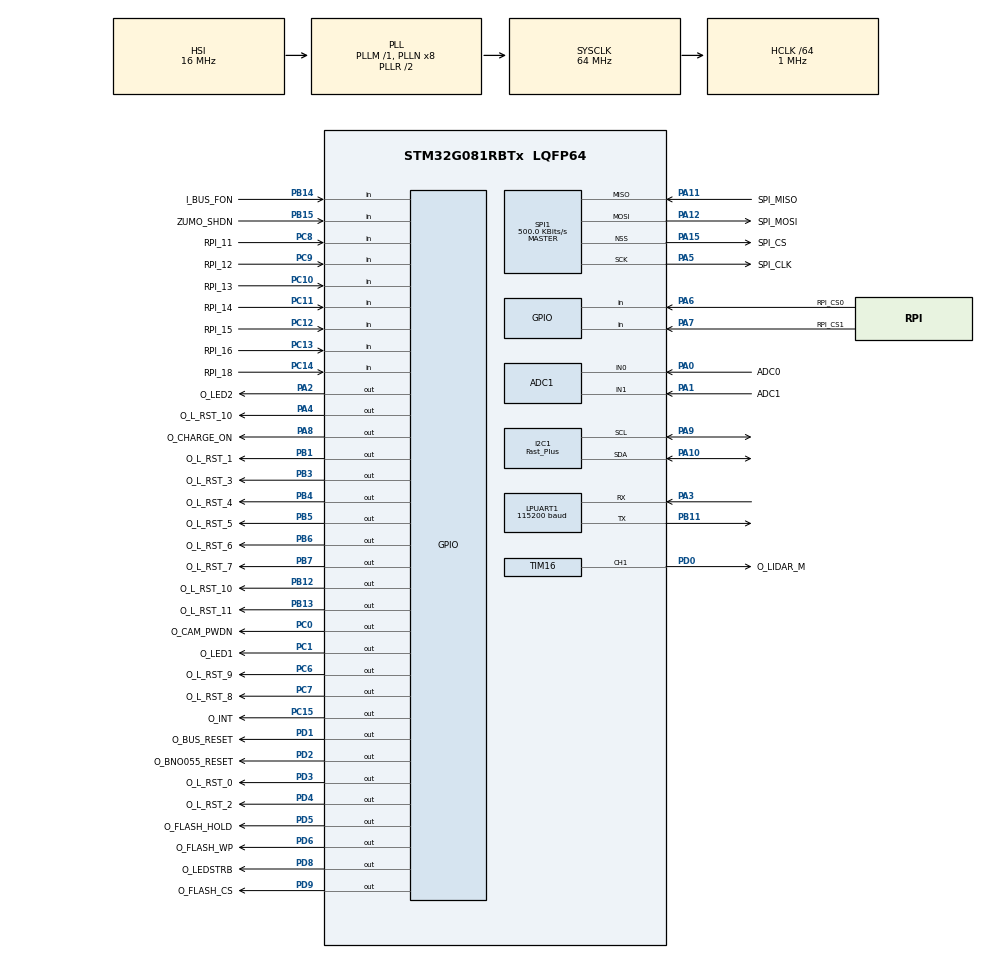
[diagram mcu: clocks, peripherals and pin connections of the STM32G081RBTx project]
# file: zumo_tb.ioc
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Dma.LPUART1_RX.2.MemDataAlignment=DMA_MDATAALIGN_BYTE
PC15-OSC32_OUT\ (PC15).GPIO_Speed=GPIO_SPEED_FREQ_LOW
ADC1.LowPowerAutoWait=DISABLE
LPUART1.OverrunDisableParam=UART_ADVFEATURE_OVERRUN_DISABLE
I2C1.I2C_Speed_Mode=I2C_Fast_Plus
SPI1.VirtualType=VM_MASTER
VP_ADC1_TempSens_Input.Mode=IN-TempSens
I2C1.GeneralCallMode=I2C_GENERALCALL_DISABLE
PA12\ [PA10].GPIO_Label=SPI_MOSI
PC12.Signal=GPIO_Input
PB14.GPIO_Label=I_BUS_FON
Dma.LPUART1_RX.2.PeriphDataAlignment=DMA_PDATAALIGN_BYTE
PC6.GPIO_Label=O_L_RST_9
VP_RTC_VS_RTC_Activate.Mode=RTC_Enabled
LPUART1.WordLength=UART_WORDLENGTH_8B
PA6.GPIO_Label=RPI_CS0
PB6.GPIO_Label=O_L_RST_6
ADC1.SamplingTimeCommon2=ADC_SAMPLETIME_160CYCLES_5
ADC1.SamplingTimeCommon1=ADC_SAMPLETIME_39CYCLES_5
PB13.Signal=GPIO_Output
PD6.GPIO_Label=O_FLASH_WP
RCC.SYSCLKSource=RCC_SYSCLKSOURCE_PLLCLK
NVIC.I2C1_IRQn=true\:0\:0\:false\:false\:true\:true\:true
Dma.TIM16_CH1.1.SignalID=NONE
RTC.SynchPrediv=249
ADC1.Channel-5\#ChannelRegularConversion=ADC_CHANNEL_VREFINT
Dma.LPUART1_RX.2.Priority=DMA_PRIORITY_LOW
RCC.ADCCLockSelection=RCC_ADCCLKSOURCE_HSI
SPI1.Direction=SPI_DIRECTION_2LINES
PA12\ [PA10].Signal=SPI1_MOSI
PD4.Signal=GPIO_Output
PB6.Signal=GPIO_Output
Dma.ADC1.0.Direction=DMA_PERIPH_TO_MEMORY
ADC1.Channel-2\#ChannelRegularConversion=ADC_CHANNEL_TEMPSENSOR
PC7.Signal=GPIO_Output
SPI1.CalculateBaudRate=500.0 KBits/s
PC3.Signal=SPI2_MOSI
PD0.Signal=S_TIM16_CH1
NVIC.TIM6_DAC_LPTIM1_IRQn=true\:0\:0\:false\:false\:true\:true\:true
PD8.Signal=GPIO_Output
Dma.TIM16_CH1.1.Priority=DMA_PRIORITY_LOW
Dma.ADC1.0.MemDataAlignment=DMA_MDATAALIGN_HALFWORD
VREF+.Signal=VREFBUF_OUT
PB2.Signal=USART3_TX
ADC1.ScanConvMode=ADC_SCAN_DISABLE
PD1.GPIO_Label=O_BUS_RESET
PB12.GPIO_Label=O_L_RST_10
Dma.LPUART1_RX.2.Mode=DMA_NORMAL
RCC.TIM1CLockSelectionVirtual=RCC_TIM1CLKSOURCE_PLL
LPTIM1.ClockPrescaler=LPTIM_PRESCALER_DIV32
TIM16.OCPolarity_1=TIM_OCPOLARITY_HIGH
VP_ADC1_Vref_Input.Mode=IN-Vrefint
I2C1.NoStretchMode=I2C_NOSTRETCH_DISABLE
LPUART1.RxPinLevelInvertParam=UART_ADVFEATURE_RXINV_DISABLE
PC4.GPIO_Label=U1_ESP_RXD
PA5.GPIO_PuPd=GPIO_NOPULL
PB1.GPIO_Label=O_L_RST_1
Dma.ADC1.0.PeriphInc=DMA_PINC_DISABLE
SPI1.DataSize=SPI_DATASIZE_8BIT
PA0.Mode=IN0
PA8.Signal=GPIO_Output
PA8.GPIO_ModeDefaultOutputPP=GPIO_MODE_OUTPUT_PP
SPI1.VirtualNSS=VM_NSSHARD
Dma.TIM16_CH1.1.MemDataAlignment=DMA_MDATAALIGN_HALFWORD
VP_TIM1_VS_ClockSourceINT.Mode=Internal
ADC1.SamplingTime-0\#ChannelRegularConversion=ADC_SAMPLINGTIME_COMMON_1
TIM16.Pulse=2300
PA0.Signal=ADC1_IN0
Mcu.Package=LQFP64
PB9.Signal=SPI2_NSS
PB1.Signal=GPIO_Output
ADC1.OversamplingMode=DISABLE
PA10.Signal=I2C1_SDA
VP_RTC_VS_RTC_Calendar.Mode=RTC_Calendar
Dma.LPUART1_RX.2.Instance=DMA1_Channel3
VP_SYS_V_PVD_IN.Mode=Mode_PVD_Int
Dma.TIM16_CH1.1.EventEnable=DISABLE
LPUART1.Mode=UART_MODE_RX
LPUART1.TXFIFOThreshold=UART_TXFIFO_THRESHOLD_1_2
TIM1.Period=65535
TIM16.Prescaler=160
I2C1.CustomTiming=Disabled
PA4.GPIO_Label=O_L_RST_10
ADC1.EOCSelection=ADC_EOC_SEQ_CONV
Dma.TIM16_CH1.1.Instance=DMA1_Channel2
Dma.ADC1.0.EventEnable=DISABLE
PA5.Mode=Full_Duplex_Master
LPUART1.FifoMode=UART_FIFOMODE_ENABLE
VREF+.Mode=InternalMode
Dma.ADC1.0.Instance=DMA1_Channel1
PC15-OSC32_OUT\ (PC15).GPIO_Label=O_INT
ADC1.Rank-0\#ChannelRegularConversion=1
PD9.GPIO_Label=O_FLASH_CS
PA12\ [PA10].GPIO_Speed=GPIO_SPEED_FREQ_VERY_HIGH
Dma.LPUART1_RX.2.SyncPolarity=HAL_DMAMUX_SYNC_NO_EVENT
Dma.ADC1.0.SyncRequestNumber=1
PC13.Signal=GPIO_Input
PD3.Signal=GPIO_Output
PC6.Signal=GPIO_Output
PC2.Signal=SPI2_MISO
PD1.Signal=GPIO_Output
SH.S_TIM16_CH1.0=TIM16_CH1,PWM Generation1 CH1
VP_TIM16_VS_ClockSourceINT.Mode=Enable_Timer
NVIC.TIM16_IRQn=true\:0\:0\:false\:false\:true\:true\:true
Dma.TIM16_CH1.1.SyncSignalID=NONE
PC0.Signal=GPIO_Output
Dma.TIM16_CH1.1.MemInc=DMA_MINC_ENABLE
PA9.GPIO_FMPA9=__NULL
PC14-OSC32_IN\ (PC14).GPIO_Label=RPI_18
Dma.TIM16_CH1.1.Mode=DMA_NORMAL
PA3.Mode=Asynchronous
PA8.GPIO_Label=O_CHARGE_ON
PB11.Mode=Asynchronous
Dma.ADC1.0.SignalID=NONE
PC15-OSC32_OUT\ (PC15).GPIO_ModeDefaultOutputPP=GPIO_MODE_OUTPUT_OD
Dma.ADC1.0.Priority=DMA_PRIORITY_HIGH
PA9.Signal=I2C1_SCL
I2C1.Timing=0x00300B29
PB10.Signal=I2C2_SCL
PB14.Signal=GPIO_Input
PA5.Signal=SPI1_SCK
LPUART1.DMADisableonRxErrorParam=UART_ADVFEATURE_DMA_DISABLEONRXERROR
Dma.TIM16_CH1.1.SyncPolarity=HAL_DMAMUX_SYNC_NO_EVENT
PA1.Mode=IN1
TIM16.AutomaticOutput=TIM_AUTOMATICOUTPUT_DISABLE
PB4.GPIO_Label=O_L_RST_4
PB15.GPIO_Label=ZUMO_SHDN
SPI1.Mode=SPI_MODE_MASTER
PA1.GPIO_Label=ADC1
Dma.LPUART1_RX.2.SignalID=NONE
RCC.AHBCLKDivider=RCC_SYSCLK_DIV64
ADC1.DMAContinuousRequests=ENABLE
PA13.Mode=Serial_Wire
Dma.LPUART1_RX.2.Polarity=HAL_DMAMUX_REQ_GEN_RISING
PC7.GPIO_Label=O_L_RST_8
PA4.Signal=GPIO_Output
ADC1.SamplingTime-1\#ChannelRegularConversion=ADC_SAMPLINGTIME_COMMON_1
PB5.Signal=GPIO_Output
ADC1.master=1
Dma.TIM16_CH1.1.Polarity=HAL_DMAMUX_REQ_GEN_RISING
Dma.TIM16_CH1.1.SyncRequestNumber=1
PA5.GPIO_Label=SPI_CLK
ADC1.TriggerFrequencyMode=ADC_TRIGGER_FREQ_LOW
PC12.GPIO_Label=RPI_15
ADC1.Rank-1\#ChannelRegularConversion=2
Dma.ADC1.0.RequestNumber=1
RTC.HourFormat=RTC_HOURFORMAT_24
ProjectManager.HeapSize=0x200
Dma.LPUART1_RX.2.SyncRequestNumber=1
ADC1.SamplingTime-5\#ChannelRegularConversion=ADC_SAMPLINGTIME_COMMON_1
Dma.LPUART1_RX.2.SyncSignalID=NONE
NVIC.DMA1_Channel2_3_IRQn=true\:0\:0\:false\:false\:true\:false\:true
TIM16.OCIdleState_1=TIM_OCIDLESTATE_RESET
NVIC.DMA1_Channel1_IRQn=true\:0\:0\:false\:false\:true\:false\:true
PD2.Signal=GPIO_Output
PB0.Signal=USART3_RX
IWDG.Window=0xfff
NVIC.TIM1_BRK_UP_TRG_COM_IRQn=true\:0\:0\:false\:false\:true\:true\:true
ADC1.Rank-5\#ChannelRegularConversion=4
PC1.Signal=GPIO_Output
PD2.GPIO_Label=O_BNO055_RESET
Dma.LPUART1_RX.2.Direction=DMA_PERIPH_TO_MEMORY
Mcu.Family=STM32G0
PA11\ [PA9].Mode=Full_Duplex_Master
RCC.CortexFreq_Value=125000
ADC1.Overrun=ADC_OVR_DATA_PRESERVED
ADC1.ContinuousConvMode=ENABLE
Dma.ADC1.0.Polarity=HAL_DMAMUX_REQ_GEN_RISING
PA11\ [PA9].GPIO_Label=SPI_MISO
PA12\ [PA10].Mode=Full_Duplex_Master
PC10.Signal=GPIO_Input
VP_IWDG_VS_IWDG.Mode=IWDG_Activate
TIM16.BreakPolarity=TIM_BREAKPOLARITY_LOW
PA0.GPIO_Label=ADC0
PA14-BOOT0.Mode=Serial_Wire
PD0.GPIO_Label=O_LIDAR_M
PC0.GPIO_Label=O_CAM_PWDN
PB0.GPIO_Label=U3_ZUMO_TXD
PC13.GPIO_Label=RPI_16
PB13.GPIO_Label=O_L_RST_11
PB11.Signal=LPUART1_TX
PB15.Signal=GPIO_Input
ProjectManager.StackSize=0x400
TIM16.BreakState=TIM_BREAK_DISABLE
RCC.LPUART1CLockSelection=RCC_LPUART1CLKSOURCE_HSI
PA15.GPIO_Label=SPI_CS
RTC.StoreOperation=RTC_STOREOPERATION_RESET
TIM1.Prescaler=10000
SPI1.CLKPolarity=SPI_POLARITY_LOW
Mcu.UserConstants=I2C_ADDR,0x10
RCC.HCLKFreq_Value=1000000
RCC.AHBFreq_Value=1000000
PA14-BOOT0.Signal=SYS_SWCLK
ADC1.Channel-0\#ChannelRegularConversion=ADC_CHANNEL_0
RCC.HSE_VALUE=4000000
PA15.Mode=NSS_Signal_Hard_Output
Dma.TIM16_CH1.1.Direction=DMA_PERIPH_TO_MEMORY
Dma.LPUART1_RX.2.MemInc=DMA_MINC_ENABLE
PA2.PinState=GPIO_PIN_RESET
ADC1.Rank-2\#ChannelRegularConversion=3
PC11.GPIO_Label=RPI_14
VP_SYS_VS_DBSignals.Mode=DisableDeadBatterySignals
Dma.TIM16_CH1.1.PeriphDataAlignment=DMA_PDATAALIGN_HALFWORD
RTC.AsynchPrediv=127
PB7.Signal=GPIO_Output
ADC1.LowPowerAutoPowerOff=ENABLE
Dma.LPUART1_RX.2.EventEnable=DISABLE
PB7.GPIO_Label=O_L_RST_7
ADC1.SelectedChannel=ADC_CHANNEL_0|ADC_CHANNEL_1|ADC_CHANNEL_TEMPSENSOR|ADC_CHANNEL_VREFINT|ADC_CHANNEL_VBAT
PA6.Signal=GPIO_Input
LPUART1.RXFIFOThreshold=UART_RXFIFO_THRESHOLD_1_2
PB15.GPIO_PuPd=GPIO_PULLUP
PD5.GPIO_Label=O_FLASH_HOLD
PA2.GPIO_Label=O_LED2
VP_LPTIM1_VS_LPTIM_counterModeInternalClock.Mode=Counts__internal_clock_event_00
IWDG.Reload=1000
PA15.Signal=SPI1_NSS
PA10.GPIO_Speed=GPIO_SPEED_FREQ_LOW
PB5.GPIO_Label=O_L_RST_5
Dma.Request2=LPUART1_RX
TIM16.AutoReloadPreload=TIM_AUTORELOAD_PRELOAD_ENABLE
Dma.Request1=TIM16_CH1
PC5.Signal=USART1_RX
PD3.GPIO_Label=O_L_RST_0
PD6.Signal=GPIO_Output
Dma.Request0=ADC1
SPI1.BaudRatePrescaler=SPI_BAUDRATEPRESCALER_2
Dma.LPUART1_RX.2.PeriphInc=DMA_PINC_DISABLE
PA8.PinState=GPIO_PIN_RESET
PB4.Signal=GPIO_Output
PA3.Signal=LPUART1_RX
PB3.GPIO_Label=O_L_RST_3
PA11\ [PA9].GPIO_Speed=GPIO_SPEED_FREQ_VERY_HIGH
PC10.GPIO_Label=RPI_13
PA10.Mode=I2C
PC9.GPIO_Label=RPI_12
ADC1.ChannelVREF=ADC_CHANNEL_VREFINT
PC11.Signal=GPIO_Input
RCC.I2C1CLockSelection=RCC_I2C1CLKSOURCE_SYSCLK
Dma.LPUART1_RX.2.SyncEnable=DISABLE
PC8.Signal=GPIO_Input
PC4.Signal=USART1_TX
ADC1.DiscontinuousConvMode=DISABLE
VP_ADC1_Vbat_Input.Mode=IN-Vbat
RCC.EXTERNAL_CLOCK_VALUE=48000
PD5.Signal=GPIO_Output
PD9.Signal=GPIO_Output
PC15-OSC32_OUT\ (PC15).Signal=GPIO_Output
TIM16.Channel=TIM_CHANNEL_1
ADC1.SamplingTime-2\#ChannelRegularConversion=ADC_SAMPLINGTIME_COMMON_2
I2C1.Analog_Filter=I2C_ANALOGFILTER_ENABLE
Dma.TIM16_CH1.1.SyncEnable=DISABLE
TIM1.ClockDivision=TIM_CLOCKDIVISION_DIV2
PD8.GPIO_Label=O_LEDSTRB
PC8.GPIO_Label=RPI_11
Dma.LPUART1_RX.2.RequestNumber=1
PA13.Signal=SYS_SWDIO
Dma.ADC1.0.PeriphDataAlignment=DMA_PDATAALIGN_HALFWORD
PA9.Mode=I2C
ProjectManager.TargetToolchain=STM32CubeIDE
PB10.GPIO_Label=SCL2
Dma.ADC1.0.Mode=DMA_CIRCULAR
Dma.ADC1.0.SyncSignalID=NONE
ADC1.Channel-1\#ChannelRegularConversion=ADC_CHANNEL_1
RCC.LPTIM1CLockSelection=RCC_LPTIM1CLKSOURCE_LSI
RCC.LSE_VALUE=32768
PA1.Signal=ADC1_IN1
NVIC.USART3_4_LPUART1_IRQn=true\:0\:0\:false\:false\:true\:true\:true
board=custom
RCC.VCOOutputFreq_Value=128000000
ADC1.ChannelTS=ADC_CHANNEL_TEMPSENSOR
PC15-OSC32_OUT\ (PC15).GPIO_PuPd=GPIO_PULLUP
Dma.ADC1.0.SyncPolarity=HAL_DMAMUX_SYNC_NO_EVENT
TIM16.Period=10000
PA10.GPIO_FMPA10=__NULL
TIM16.ClockDivision=TIM_CLOCKDIVISION_DIV1
PD4.GPIO_Label=O_L_RST_2
RCC.ADCFreq_Value=16000000
PC1.GPIO_Label=O_LED1
ADC1.NbrOfConversion=4
Mcu.Name=STM32G081RBTx
PA11\ [PA9].Signal=SPI1_MISO
LPUART1.BaudRate=115200
PA2.Signal=GPIO_Output
I2C1.OwnAddress=I2C_ADDR
PB3.Signal=GPIO_Output
RCC.SYSCLKFreq_VALUE=64000000
PA7.GPIO_Label=RPI_CS1
PC5.GPIO_Label=U1_ESP_TXD
PC14-OSC32_IN\ (PC14).Signal=GPIO_Input
PA15.GPIO_Speed=GPIO_SPEED_FREQ_VERY_HIGH
Dma.ADC1.0.SyncEnable=DISABLE
Dma.ADC1.0.MemInc=DMA_MINC_ENABLE
PB2.GPIO_Label=U3_ZUMO_RXD
Dma.TIM16_CH1.1.PeriphInc=DMA_PINC_DISABLE
RCC.HSI_VALUE=16000000
PA8.GPIO_PuPd=GPIO_NOPULL
PA5.GPIO_Speed=GPIO_SPEED_FREQ_VERY_HIGH
ADC1.NbrOfConversionFlag=1
IWDG.Prescaler=IWDG_PRESCALER_32
PA9.GPIO_Speed=GPIO_SPEED_FREQ_LOW
PB8.Signal=SPI2_SCK
RCC.Cortex_Div=SYSTICK_CLKSOURCE_HCLK_DIV8
PC9.Signal=GPIO_Input
ADC1.ClockPrescaler=ADC_CLOCK_ASYNC_DIV64
NVIC.ADC1_COMP_IRQn=true\:0\:0\:false\:false\:true\:true\:true
PB12.Signal=GPIO_Output
Dma.TIM16_CH1.1.RequestNumber=1
PA7.Signal=GPIO_Input

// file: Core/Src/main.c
/* USER CODE BEGIN Header */
/**
 ******************************************************************************
 * @file           : main.c
 * @brief          : Main program body
 ******************************************************************************
 * @attention
 *
 * <h2><center>&copy; Copyright (c) 2020 STMicroelectronics.
 * All rights reserved.</center></h2>
 *
 * This software component is licensed by ST under BSD 3-Clause license,
 * the "License"; You may not use this file except in compliance with the
 * License. You may obtain a copy of the License at:
 *                        opensource.org/licenses/BSD-3-Clause
 *
 ******************************************************************************
 */
/* USER CODE END Header */
#include "main.h"
#include "adc.h"
#include "dma.h"
#include "i2c.h"
#include "iwdg.h"
#include "lptim.h"
#include "usart.h"
#include "rtc.h"
#include "spi.h"
#include "tim.h"
#include "gpio.h"

/* USER CODE BEGIN Includes */

#include "config.h"
#include "stm32g0xx_hal_pwr_ex.h"
#ifdef ENABLE_LCD_UI
#include "ui.h"
#endif
#include "pm.h"

/* USER CODE END Includes */

/* USER CODE BEGIN PTD */

//#define ENABLE_SEMI_PRINTF

/* USER CODE END PTD */

void SystemClock_Config(void);
/* USER CODE BEGIN PFP */
void FastSystemClock_Config(void);
uint8_t sysfastclock = 0;
extern void initialise_monitor_handles(void);
void vUpdateRSTGPIOs();
void vUpdateRPIGPIOs();

/* USER CODE END PFP */

/* USER CODE BEGIN 0 */

/* Buffer used for reception */
uint8_t lds_previdx = 0;
uint8_t ldx_rxbuf[8];
uint8_t lds_frmidx = 0;
uint8_t lds_frm[22];
#define LDS_POINTS 360
struct
{
	uint8_t index;
	uint8_t data[4];
} lds_data[LDS_POINTS];
struct
{
	uint8_t index;
	uint8_t data[4];
} lds_data_bak[LDS_POINTS];
uint16_t lds_data_bak_cnt = 0;
struct
{
	uint8_t index;
	uint8_t data[4];
} lds_data_i2c[LDS_POINTS];
uint16_t lds_data_i2c_cnt = 0;
uint16_t lds_data_i2c_addr = 0;

/**
  * @brief  Rx Transfer completed callback
  * @param  UartHandle: UART handle
  * @note   This example shows a simple way to report end of DMA Rx transfer, and
  *         you can add your own implementation.
  * @retval None
  */
void HAL_UART_RxCpltCallback(UART_HandleTypeDef *huart) {
	/*
	22 Bytes: <start> <index> <speed_L> <speed_H> [Data 0] [Data 1] [Data 2] [Data 3] <checksum_L> <checksum_H>

	start is always 0xFA
	index is the index byte in the 90 packets, going from 0xA0 (packet 0, readings 0 to 3) to 0xF9 (packet 89, readings 356 to 359).
	speed is a two-byte information, little-endian. It represents the speed, in 64th of RPM (aka value in RPM represented in fixed point, with 6 bits used for the decimal part).
	[Data 0] to [Data 3] are the 4 readings. Each one is 4 bytes long, and organized as follows :

	`byte 0 : <distance 7:0>`
	`byte 1 : <„invalid data“ flag> <„strength warning“ flag> <distance 13:8>`
	`byte 2 : <signal strength 7:0>`
	`byte 3 : <signal strength 15:8>`
	 */

	int j;
	for(j=0;j<sizeof(ldx_rxbuf);j++)
	{
		lds_frm[lds_frmidx] = ldx_rxbuf[j];
		if( lds_frm[0] == 0xFA )
		{
			lds_frmidx++;
			lds_previdx = 0xA0-1;
		}
		if( lds_frmidx == 22 )
		{
			uint32_t chk32 = 0;
			int i;
			for(i=0; i<10; i++)
			{
			    chk32 = (chk32 << 1) + (lds_frm[2*i+0]|lds_frm[2*i+1]<<8);
			}
			chk32 = (chk32 & 0x7FFF) + (chk32 >> 15);
			chk32 &= 0x7FFF;
			if( ((chk32>>0)&0xff) == lds_frm[20] && ((chk32>>8)&0xff) == lds_frm[21] )
			{
				uint8_t index = lds_frm[1];
				double speed = (lds_frm[2] | lds_frm[3]<<8)/64.0;
				struct
				{
					uint8_t  distance;
					uint8_t  invalid;
					uint8_t  strength_warning;
					int16_t  signal;
				} data[4];
				int rpm = API_I2C1_u8Get(I2C_REG_TB_U8_LDS_SPEED) * 60;
				if( rpm != 0 )
				{
					if( speed < rpm )
					{
						if( htim16.Instance->CCR1 < 10000 )
							htim16.Instance->CCR1++;
					}
					else if( speed > rpm )
					{
						if( htim16.Instance->CCR1 > 1000 )
							htim16.Instance->CCR1--;
					}
				}
				if( lds_previdx+1 == index )
				{
					for(i=0;i<4;i++)
					{
						data[i].distance = (lds_frm[4+4*i+0] | (lds_frm[4+4*i+1]<<8))&0x3fff;
						data[i].invalid = (lds_frm[4+4*i+1]>>7)&1;
						data[i].strength_warning = (lds_frm[4+4*i+1]>>6)&1;
						data[i].signal = lds_frm[4+4*i+2] + (lds_frm[4+4*i+3]<<8);

						int p = (4*(index-0xA0) + i);
						if(p>=0 && p<LDS_POINTS )
						{
							lds_data[p].index = index;
							lds_data[p].data[0] = lds_frm[4+4*i+0];
							lds_data[p].data[1] = lds_frm[4+4*i+1];
							lds_data[p].data[2] = lds_frm[4+4*i+2];
							lds_data[p].data[3] = lds_frm[4+4*i+3];
							if( p==((LDS_POINTS)-1) )
							{
								memcpy(&lds_data_bak,&lds_data,sizeof(lds_data_bak));
								lds_data_bak_cnt++;
								if( (API_I2C1_u8Get(I2C_REG_TB_U8_INT_ENABLE)&I2C_REG_TB_U8_INT_BIT__LDS_READY) != 0 )
								{
									API_I2C1_u8Set(I2C_REG_TB_U8_INT_FLAGS,API_I2C1_u8Get(I2C_REG_TB_U8_INT_FLAGS)|I2C_REG_TB_U8_INT_BIT__LDS_READY);
								}

							}
						}
					}
				}
				else
				{
					lds_previdx = 0x00;
				}
	#ifdef ENABLE_SEMI_PRINTF
				if( index == 0xA0 )
				{
					printf("0x%02x idx=%02x speed=%3.0f pwm=%d (%d,%d,%d,%d) (%d,%d,%d,%d) (%d,%d,%d,%d) (%d,%d,%d,%d) \n",
							lds_frm[0],
							index,
							speed,htim16.Instance->CCR1,
							data[0].distance,data[0].invalid,data[0].strength_warning,data[0].signal,
							data[1].distance,data[1].invalid,data[1].strength_warning,data[1].signal,
							data[2].distance,data[2].invalid,data[2].strength_warning,data[2].signal,
							data[3].distance,data[3].invalid,data[3].strength_warning,data[3].signal);
				}
	#endif
			}
			lds_frm[0] = 0;
			lds_frmidx = 0;
			lds_previdx = 0x00;
			memset(&lds_data,0,sizeof(lds_data));
		}
	}

	if (HAL_UART_Receive_IT(&hlpuart1, (uint8_t *)ldx_rxbuf, sizeof(ldx_rxbuf)) != HAL_OK)
	{
		Error_Handler();
	}
}

/* USER CODE END 0 */

int main(void)
{
  /* USER CODE BEGIN 1 */
#ifdef ENABLE_SEMI_PRINTF
  initialise_monitor_handles();
#endif
  /* USER CODE END 1 */

  /* MCU Configuration--------------------------------------------------------*/

  /* Reset of all peripherals, Initializes the Flash interface and the Systick. */
  HAL_Init();

  /* Configure the system clock */
  SystemClock_Config();

  /* Initialize all configured peripherals */
  MX_GPIO_Init();
  MX_DMA_Init();
  MX_SPI1_Init();
  MX_TIM1_Init();
  MX_RTC_Init();
  MX_ADC1_Init();
  MX_TIM16_Init();
  MX_LPTIM1_Init();
  MX_IWDG_Init();
  MX_I2C1_Init();
  MX_LPUART1_UART_Init();
  /* USER CODE BEGIN 2 */

  __HAL_RCC_PWR_CLK_ENABLE();

#if 0
  /* Disable Prefetch Buffer */
  __HAL_FLASH_PREFETCH_BUFFER_DISABLE();

  RCC->IOPSMENR  = 0x00u;
  RCC->AHBSMENR  = 0x00u;

  RCC->APBSMENR1 = 0x00u;
  RCC->APBSMENR2 = 0x00u;
#endif

  pm_early_init();

#ifdef HAL_IWDG_MODULE_ENABLED
	HAL_IWDG_Refresh(&hiwdg);
#endif

#if 0
  /* Enable Power Clock */
  __HAL_RCC_PWR_CLK_ENABLE();

  /* Reduce the System clock */
  SystemClock_Decrease();

  /* Set regulator voltage to scale 2 */
  HAL_PWREx_ControlVoltageScaling(PWR_REGULATOR_VOLTAGE_SCALE2);

  /* Enter LP RUN Mode */
  HAL_PWREx_EnableLowPowerRunMode();
#endif

  //printf("main() ...\n");

#ifdef ENABLE_LCD_UI
  ui_init();
#endif

  API_I2C1_u16Set(I2C_REG_TB_U16_RPI_DIR,0x0000);
  API_I2C1_u16Set(I2C_REG_TB_U16_RPI_WRITE,0x0000);
  API_I2C1_u16Set(I2C_REG_TB_U16_RPI_READ,0x0000);
  vUpdateRPIGPIOs();

  API_I2C1_Init();

  pm_init();

  /*
  HAL_GPIO_WritePin(O_L_RST_0_GPIO_Port,O_L_RST_0_Pin,GPIO_PIN_RESET);
  HAL_GPIO_WritePin(O_L_RST_1_GPIO_Port,O_L_RST_1_Pin,GPIO_PIN_RESET);
  HAL_GPIO_WritePin(O_L_RST_2_GPIO_Port,O_L_RST_2_Pin,GPIO_PIN_RESET);
  HAL_GPIO_WritePin(O_L_RST_3_GPIO_Port,O_L_RST_3_Pin,GPIO_PIN_RESET);
  HAL_GPIO_WritePin(O_L_RST_4_GPIO_Port,O_L_RST_4_Pin,GPIO_PIN_RESET);
  HAL_GPIO_WritePin(O_L_RST_5_GPIO_Port,O_L_RST_5_Pin,GPIO_PIN_RESET);
  HAL_GPIO_WritePin(O_L_RST_6_GPIO_Port,O_L_RST_6_Pin,GPIO_PIN_RESET);
  HAL_GPIO_WritePin(O_L_RST_7_GPIO_Port,O_L_RST_7_Pin,GPIO_PIN_RESET);
  HAL_GPIO_WritePin(O_L_RST_8_GPIO_Port,O_L_RST_8_Pin,GPIO_PIN_RESET);
  HAL_GPIO_WritePin(O_L_RST_9_GPIO_Port,O_L_RST_9_Pin,GPIO_PIN_RESET);
  HAL_GPIO_WritePin(O_L_RST_10_GPIO_Port,O_L_RST_10_Pin,GPIO_PIN_RESET);
  HAL_GPIO_WritePin(O_L_RST_11_GPIO_Port,O_L_RST_11_Pin,GPIO_PIN_RESET);
  HAL_GPIO_WritePin(O_BNO055_RESET_GPIO_Port,O_BNO055_RESET_Pin,GPIO_PIN_RESET);
*/

  API_I2C1_u16Set(I2C_REG_TB_U16_VL53L1X_RSTREG,0x0000);
  vUpdateRSTGPIOs();

  API_I2C1_u8Set(I2C_REG_TB_U8_WIFIFST,0x00);
  API_I2C1_u32Set(I2C_REG_TB_U32_IPADDR,0x00000000);

  API_I2C1_u8Set(I2C_REG_TB_U8_LDS_SPEED,1);
  API_I2C1_u8Set(I2C_REG_TB_U8_INT_ENABLE,0x00);
  API_I2C1_u8Set(I2C_REG_TB_U8_INT_FLAGS,0x00);

  HAL_TIM_PWM_Start(&htim16, TIM_CHANNEL_1);

  if (HAL_UART_Receive_IT(&hlpuart1, (uint8_t *)ldx_rxbuf, sizeof(ldx_rxbuf)) != HAL_OK)
  {
    Error_Handler();
  }

#if 0
	HAL_Delay(500);

    /* Disable low power run mode and reset the clock to initialization configuration */
    HAL_PWREx_DisableLowPowerRunMode();

    /* Configure the system clock for the RUN mode */
    SystemClock_Config();
#endif

  /* USER CODE END 2 */

  /* Infinite loop */
  /* USER CODE BEGIN WHILE */
	//printf("main() ...\n");
	while (1)
	{
#if 0
		{
			uint8_t buf;
			int n = 0;
			while( HAL_OK == HAL_UART_Receive(&hlpuart1, &buf, 1, 1 ) )
			{
				printf("%02x",buf);
				n++;
			}
			if(n > 0 )
			{
				printf("\n");
			}
		}
#endif

#if 0
		if( bRxBuffer_flag == 1 )
		{
			bRxBuffer_flag = 0;
			printf("%02x%02x%02x%02x%02x%02x%02x%02x\n",
					bRxBuffer[0],
					bRxBuffer[1],
					bRxBuffer[2],
					bRxBuffer[3],
					bRxBuffer[4],
					bRxBuffer[5],
					bRxBuffer[6],
					bRxBuffer[7]);
		}

#endif

#if 0
	{
	    GPIO_InitTypeDef GPIO_InitStruct = {0};
		GPIO_InitStruct.Pin = GPIO_PIN_10;
		GPIO_InitStruct.Mode = GPIO_MODE_OUTPUT_PP;
		GPIO_InitStruct.Pull = GPIO_NOPULL;
		HAL_GPIO_Init(GPIOA, &GPIO_InitStruct);
		HAL_GPIO_TogglePin(GPIOA,GPIO_PIN_10);
	}
#endif

#ifdef ENABLE_SEMI_PRINTF
#if 0
		printf("main() u_bat=%d u_charge=%d temp=%d charge=%d off=%d\n",
				API_I2C1_u16Get(I2C_REG_TB_U16_UBAT_MV),
				API_I2C1_u16Get(I2C_REG_TB_U16_UCHARGE_MV),
				API_I2C1_u16Get(I2C_REG_TB_U16_TEMP_C),
				HAL_GPIO_ReadPin(O_CHARGE_ON_GPIO_Port,O_CHARGE_ON_Pin),
				HAL_GPIO_ReadPin(ZUMO_SHDN_GPIO_Port,ZUMO_SHDN_Pin));
#endif
#endif // ENABLE_SEMI_PRINTF

		//HAL_WWDG_Refresh(WWDG);
		//HAL_IWDG_Refresh(IWDG);

		  //HAL_GPIO_TogglePin(O_LIDAR_M_GPIO_Port, O_LIDAR_M_Pin);

#if 0
	    HAL_GPIO_WritePin(ZUMO_SHDN_GPIO_Port,ZUMO_SHDN_Pin,GPIO_PIN_SET);
		while(1)
		{
		    HAL_GPIO_WritePin(O_CHARGE_ON_GPIO_Port,O_CHARGE_ON_Pin,GPIO_PIN_SET);
			HAL_Delay(1000);
		    HAL_GPIO_WritePin(O_CHARGE_ON_GPIO_Port,O_CHARGE_ON_Pin,GPIO_PIN_RESET);
			HAL_Delay(1000);
		}
#endif

#if 0
		HAL_Delay(5000);

		vStandby();
#endif

#if 0
		HAL_Delay(5000);

		HAL_GPIO_WritePin(O_LED2_GPIO_Port,O_LED2_Pin,GPIO_PIN_RESET);
		HAL_GPIO_WritePin(ZUMO_SHDN_GPIO_Port,ZUMO_SHDN_Pin,GPIO_PIN_SET);

		HAL_SuspendTick();
		HAL_PWR_EnterSTOPMode(PWR_LOWPOWERREGULATOR_ON, PWR_STOPENTRY_WFI);
		HAL_ResumeTick();

		/*
		 * ... Sleeping ...
		 */
		HAL_GPIO_WritePin(ZUMO_SHDN_GPIO_Port,ZUMO_SHDN_Pin,GPIO_PIN_SET);
		HAL_GPIO_WritePin(O_LED2_GPIO_Port,O_LED2_Pin,GPIO_PIN_SET);
		SystemClock_Config();
#endif

		if( API_I2C1_u8Get(I2C_REG_TB_U8_LDS_SPEED) == 0 )
		{
			htim16.Instance->CCR1 = 0;
		}
		else if( htim16.Instance->CCR1 == 0 )
		{
			htim16.Instance->CCR1 = 2000;
		}

		if( (API_I2C1_u8Get(I2C_REG_TB_U8_INT_FLAGS)&API_I2C1_u8Get(I2C_REG_TB_U8_INT_ENABLE)) != 0 )
		{
			HAL_GPIO_WritePin(O_INT_GPIO_Port,O_INT_Pin,GPIO_PIN_RESET);
		}
		else
		{
			HAL_GPIO_WritePin(O_INT_GPIO_Port,O_INT_Pin,GPIO_PIN_SET);
		}

		API_I2C1_u32Set(I2C_REG_TB_U32_LOOP_CNT,API_I2C1_u32Get(I2C_REG_TB_U32_LOOP_CNT)+1);

		vUpdateRSTGPIOs();
		vUpdateRPIGPIOs();

		if( sysfastclock == 1 )
		{
			if( HAL_GPIO_ReadPin(ZUMO_SHDN_GPIO_Port,ZUMO_SHDN_Pin) == GPIO_PIN_SET )
			{
				SystemClock_Config();
				sysfastclock = 0;
			}
		}
		else
		{
			if( HAL_GPIO_ReadPin(ZUMO_SHDN_GPIO_Port,ZUMO_SHDN_Pin) == GPIO_PIN_RESET )
			{
				FastSystemClock_Config();
				sysfastclock = 1;
			}
		}

#ifdef ENABLE_LCD_UI
		ui_loop();
#endif
		pm_loop();

		API_I2C1_Handle();
    /* USER CODE END WHILE */

	}
}

void SystemClock_Config(void)
{
  RCC_OscInitTypeDef RCC_OscInitStruct = {0};
  RCC_ClkInitTypeDef RCC_ClkInitStruct = {0};
  RCC_PeriphCLKInitTypeDef PeriphClkInit = {0};

  /** Configure the main internal regulator output voltage
  */
  HAL_PWREx_ControlVoltageScaling(PWR_REGULATOR_VOLTAGE_SCALE1);
  /** Initializes the RCC Oscillators according to the specified parameters
  * in the RCC_OscInitTypeDef structure.
  */
  RCC_OscInitStruct.OscillatorType = RCC_OSCILLATORTYPE_HSI|RCC_OSCILLATORTYPE_LSI;
  RCC_OscInitStruct.HSIState = RCC_HSI_ON;
  RCC_OscInitStruct.HSIDiv = RCC_HSI_DIV1;
  RCC_OscInitStruct.HSICalibrationValue = RCC_HSICALIBRATION_DEFAULT;
  RCC_OscInitStruct.LSIState = RCC_LSI_ON;
  RCC_OscInitStruct.PLL.PLLState = RCC_PLL_ON;
  RCC_OscInitStruct.PLL.PLLSource = RCC_PLLSOURCE_HSI;
  RCC_OscInitStruct.PLL.PLLM = RCC_PLLM_DIV1;
  RCC_OscInitStruct.PLL.PLLN = 8;
  RCC_OscInitStruct.PLL.PLLP = RCC_PLLP_DIV2;
  RCC_OscInitStruct.PLL.PLLQ = RCC_PLLQ_DIV2;
  RCC_OscInitStruct.PLL.PLLR = RCC_PLLR_DIV2;
  if (HAL_RCC_OscConfig(&RCC_OscInitStruct) != HAL_OK)
  {
    Error_Handler();
  }
  /** Initializes the CPU, AHB and APB buses clocks
  */
  RCC_ClkInitStruct.ClockType = RCC_CLOCKTYPE_HCLK|RCC_CLOCKTYPE_SYSCLK
                              |RCC_CLOCKTYPE_PCLK1;
  RCC_ClkInitStruct.SYSCLKSource = RCC_SYSCLKSOURCE_PLLCLK;
  RCC_ClkInitStruct.AHBCLKDivider = RCC_SYSCLK_DIV64;
  RCC_ClkInitStruct.APB1CLKDivider = RCC_HCLK_DIV1;

  if (HAL_RCC_ClockConfig(&RCC_ClkInitStruct, FLASH_LATENCY_0) != HAL_OK)
  {
    Error_Handler();
  }
  /** Initializes the peripherals clocks
  */
  PeriphClkInit.PeriphClockSelection = RCC_PERIPHCLK_RTC|RCC_PERIPHCLK_LPUART1
                              |RCC_PERIPHCLK_LPTIM1|RCC_PERIPHCLK_I2C1
                              |RCC_PERIPHCLK_ADC|RCC_PERIPHCLK_TIM1;
  PeriphClkInit.Lpuart1ClockSelection = RCC_LPUART1CLKSOURCE_HSI;
  PeriphClkInit.I2c1ClockSelection = RCC_I2C1CLKSOURCE_SYSCLK;
  PeriphClkInit.Lptim1ClockSelection = RCC_LPTIM1CLKSOURCE_LSI;
  PeriphClkInit.AdcClockSelection = RCC_ADCCLKSOURCE_HSI;
  PeriphClkInit.Tim1ClockSelection = RCC_TIM1CLKSOURCE_PLL;
  PeriphClkInit.RTCClockSelection = RCC_RTCCLKSOURCE_LSI;

  if (HAL_RCCEx_PeriphCLKConfig(&PeriphClkInit) != HAL_OK)
  {
    Error_Handler();
  }
}

/* USER CODE BEGIN 4 */

/**
  * @brief System Clock Configuration
  * @retval None
  */
void FastSystemClock_Config(void)
{
  RCC_OscInitTypeDef RCC_OscInitStruct = {0};
  RCC_ClkInitTypeDef RCC_ClkInitStruct = {0};
  RCC_PeriphCLKInitTypeDef PeriphClkInit = {0};

  /** Configure the main internal regulator output voltage
  */
  HAL_PWREx_ControlVoltageScaling(PWR_REGULATOR_VOLTAGE_SCALE1);
  /** Initializes the RCC Oscillators according to the specified parameters
  * in the RCC_OscInitTypeDef structure.
  */
  RCC_OscInitStruct.OscillatorType = RCC_OSCILLATORTYPE_HSI|RCC_OSCILLATORTYPE_LSI;
  RCC_OscInitStruct.HSIState = RCC_HSI_ON;
  RCC_OscInitStruct.HSIDiv = RCC_HSI_DIV1;
  RCC_OscInitStruct.HSICalibrationValue = RCC_HSICALIBRATION_DEFAULT;
  RCC_OscInitStruct.LSIState = RCC_LSI_ON;
  RCC_OscInitStruct.PLL.PLLState = RCC_PLL_ON;
  RCC_OscInitStruct.PLL.PLLSource = RCC_PLLSOURCE_HSI;
  RCC_OscInitStruct.PLL.PLLM = RCC_PLLM_DIV1;
  RCC_OscInitStruct.PLL.PLLN = 8;
  RCC_OscInitStruct.PLL.PLLP = RCC_PLLP_DIV2;
  RCC_OscInitStruct.PLL.PLLQ = RCC_PLLQ_DIV2;
  RCC_OscInitStruct.PLL.PLLR = RCC_PLLR_DIV2;
  if (HAL_RCC_OscConfig(&RCC_OscInitStruct) != HAL_OK)
  {
    Error_Handler();
  }
  /** Initializes the CPU, AHB and APB buses clocks
  */
  RCC_ClkInitStruct.ClockType = RCC_CLOCKTYPE_HCLK|RCC_CLOCKTYPE_SYSCLK
                              |RCC_CLOCKTYPE_PCLK1;
  RCC_ClkInitStruct.SYSCLKSource = RCC_SYSCLKSOURCE_PLLCLK;
  RCC_ClkInitStruct.AHBCLKDivider = RCC_SYSCLK_DIV1;
  RCC_ClkInitStruct.APB1CLKDivider = RCC_HCLK_DIV1;

  if (HAL_RCC_ClockConfig(&RCC_ClkInitStruct, FLASH_LATENCY_2) != HAL_OK)
  {
    Error_Handler();
  }
  /** Initializes the peripherals clocks
  */
  PeriphClkInit.PeriphClockSelection = RCC_PERIPHCLK_RTC|RCC_PERIPHCLK_LPTIM1
                              |RCC_PERIPHCLK_I2C1|RCC_PERIPHCLK_ADC
                              |RCC_PERIPHCLK_TIM1;
  PeriphClkInit.I2c1ClockSelection = RCC_I2C1CLKSOURCE_SYSCLK;
  PeriphClkInit.Lptim1ClockSelection = RCC_LPTIM1CLKSOURCE_LSI;
  PeriphClkInit.AdcClockSelection = RCC_ADCCLKSOURCE_HSI;
  PeriphClkInit.Tim1ClockSelection = RCC_TIM1CLKSOURCE_PLL;
  PeriphClkInit.RTCClockSelection = RCC_RTCCLKSOURCE_LSI;

  if (HAL_RCCEx_PeriphCLKConfig(&PeriphClkInit) != HAL_OK)
  {
    Error_Handler();
  }
}

void vUpdateRSTGPIOs()
{
	if(API_I2C1_u8WRFlag(I2C_REG_TB_U16_VL53L1X_RSTREG,2)!=0)
	{
		int bit=0;
		uint16_t r = API_I2C1_u16Get(I2C_REG_TB_U16_VL53L1X_RSTREG);
		HAL_GPIO_WritePin(O_L_RST_0_GPIO_Port,O_L_RST_0_Pin,((r>>(bit++))&1)?GPIO_PIN_SET:GPIO_PIN_RESET);
		HAL_GPIO_WritePin(O_L_RST_1_GPIO_Port,O_L_RST_1_Pin,((r>>(bit++))&1)?GPIO_PIN_SET:GPIO_PIN_RESET);
		HAL_GPIO_WritePin(O_L_RST_2_GPIO_Port,O_L_RST_2_Pin,((r>>(bit++))&1)?GPIO_PIN_SET:GPIO_PIN_RESET);
		HAL_GPIO_WritePin(O_L_RST_3_GPIO_Port,O_L_RST_3_Pin,((r>>(bit++))&1)?GPIO_PIN_SET:GPIO_PIN_RESET);
		HAL_GPIO_WritePin(O_L_RST_4_GPIO_Port,O_L_RST_4_Pin,((r>>(bit++))&1)?GPIO_PIN_SET:GPIO_PIN_RESET);
		HAL_GPIO_WritePin(O_L_RST_5_GPIO_Port,O_L_RST_5_Pin,((r>>(bit++))&1)?GPIO_PIN_SET:GPIO_PIN_RESET);
		HAL_GPIO_WritePin(O_L_RST_6_GPIO_Port,O_L_RST_6_Pin,((r>>(bit++))&1)?GPIO_PIN_SET:GPIO_PIN_RESET);
		HAL_GPIO_WritePin(O_L_RST_7_GPIO_Port,O_L_RST_7_Pin,((r>>(bit++))&1)?GPIO_PIN_SET:GPIO_PIN_RESET);
		HAL_GPIO_WritePin(O_L_RST_8_GPIO_Port,O_L_RST_8_Pin,((r>>(bit++))&1)?GPIO_PIN_SET:GPIO_PIN_RESET);
		HAL_GPIO_WritePin(O_L_RST_9_GPIO_Port,O_L_RST_9_Pin,((r>>(bit++))&1)?GPIO_PIN_SET:GPIO_PIN_RESET);
		HAL_GPIO_WritePin(O_L_RST_10_GPIO_Port,O_L_RST_10_Pin,((r>>(bit++))&1)?GPIO_PIN_SET:GPIO_PIN_RESET);
		HAL_GPIO_WritePin(O_L_RST_11_GPIO_Port,O_L_RST_11_Pin,((r>>(bit++))&1)?GPIO_PIN_SET:GPIO_PIN_RESET);

		bit=15;
		HAL_GPIO_WritePin(O_BNO055_RESET_GPIO_Port,O_BNO055_RESET_Pin,((r>>(bit++))&1)?GPIO_PIN_SET:GPIO_PIN_RESET);
	}
}

void vUpdateRPIGPIOs()
{
	int i;
	const struct
	{
		GPIO_TypeDef*	port;
		uint16_t		pin;

	} rpi_pins[16] = {
			{RPI_11_GPIO_Port,RPI_11_Pin},
			{RPI_12_GPIO_Port,RPI_12_Pin},
			{RPI_13_GPIO_Port,RPI_13_Pin},
			{RPI_14_GPIO_Port,RPI_14_Pin},
			{RPI_15_GPIO_Port,RPI_15_Pin},
			{RPI_16_GPIO_Port,RPI_16_Pin},
			{RPI_18_GPIO_Port,RPI_18_Pin},
			{SPI_MOSI_GPIO_Port,SPI_MOSI_Pin},
			{SPI_MISO_GPIO_Port,SPI_MISO_Pin},
			{SPI_CS_GPIO_Port,SPI_CS_Pin},
			{SPI_CLK_GPIO_Port,SPI_CLK_Pin},
			{RPI_CS0_GPIO_Port,RPI_CS0_Pin},
			{RPI_CS1_GPIO_Port,RPI_CS1_Pin},
			{NULL,0xffff},
			{NULL,0xffff},
			{NULL,0xffff},
	};

	uint16_t reg_dir = API_I2C1_u16Get(I2C_REG_TB_U16_RPI_DIR);
	uint16_t reg_write = API_I2C1_u16Get(I2C_REG_TB_U16_RPI_WRITE);
	uint16_t reg_read = API_I2C1_u16Get(I2C_REG_TB_U16_RPI_READ);

	for( i=0; i<16 && rpi_pins[i].pin != 0xffff; i++)
	{
		uint8_t bit_dir = (reg_dir>>i)&1;
		uint8_t bit_write = (reg_write>>i)&1;

		if( bit_dir != 0 )
		{
			// should be an output

			  GPIO_InitTypeDef GPIO_InitStruct = {0};

			  GPIO_InitStruct.Pin = rpi_pins[i].pin;
			  GPIO_InitStruct.Mode = GPIO_MODE_OUTPUT_PP;
			  GPIO_InitStruct.Pull = GPIO_NOPULL;
			  GPIO_InitStruct.Speed = GPIO_SPEED_FREQ_LOW;
			  HAL_GPIO_Init(rpi_pins[i].port, &GPIO_InitStruct);

			  if( bit_write != 0 )
			  {
				  HAL_GPIO_WritePin(rpi_pins[i].port, rpi_pins[i].pin, GPIO_PIN_SET);
			  }
			  else
			  {
				  HAL_GPIO_WritePin(rpi_pins[i].port, rpi_pins[i].pin, GPIO_PIN_RESET);
			  }
		}
		reg_read &= ~(1<<i);
		reg_read |= (HAL_GPIO_ReadPin(rpi_pins[i].port,rpi_pins[i].pin)==GPIO_PIN_SET)?(1<<i):0;
	}
	API_I2C1_u16Set(I2C_REG_TB_U16_RPI_READ,reg_read);

}

uint8_t HAL_I2C_MemReadCB(uint8_t addr)
{
	if( addr == I2C_REG_TB_U8_LDS_STREAM )
	{
		if( lds_data_i2c_addr == 0 )
		{
			lds_data_i2c_cnt = lds_data_bak_cnt;
			memcpy(&lds_data_i2c,&lds_data_bak,sizeof(lds_data_i2c));
			API_I2C1_u8Set(I2C_REG_TB_U8_LDS_STREAM,(lds_data_i2c_cnt>>8)&0xff);
			lds_data_i2c_addr++;
		}
		else if( lds_data_i2c_addr == 1 )
		{
			API_I2C1_u8Set(I2C_REG_TB_U8_LDS_STREAM,(lds_data_i2c_cnt>>0)&0xff);
			lds_data_i2c_addr++;
		}
		else if( lds_data_i2c_addr>=2 && lds_data_i2c_addr< (2+(5*LDS_POINTS)) )
		{
			int p = (lds_data_i2c_addr-2)/5;
			API_I2C1_u8Set(I2C_REG_TB_U8_LDS_STREAM,lds_data_i2c[p].data[(lds_data_i2c_addr-2)%5]);
			lds_data_i2c_addr++;
		}
		else
		{
			API_I2C1_u8Set(I2C_REG_TB_U8_LDS_STREAM,0);
		}
	}
	return 1;
}

void HAL_I2C_MemWriteCB(uint8_t addr)
{
	if( addr == I2C_REG_TB_U8_LDS_STREAM )
	{
		lds_data_i2c_addr = 0;
	}
	else if( addr >= I2C_REG_TB_U16_VL53L1X_RSTREG && addr <= (I2C_REG_TB_U16_VL53L1X_RSTREG+1) )
	{
		vUpdateRSTGPIOs();
	}
	else if( addr >= I2C_REG_TB_U16_RPI_DIR && addr <= (I2C_REG_TB_U16_RPI_DIR+1) )
	{
		vUpdateRPIGPIOs();
	}
	else if( addr >= I2C_REG_TB_U16_RPI_READ && addr <= (I2C_REG_TB_U16_RPI_READ+1) )
	{
		vUpdateRPIGPIOs();
	}
	else if( addr >= I2C_REG_TB_U16_RPI_WRITE && addr <= (I2C_REG_TB_U16_RPI_WRITE+1) )
	{
		vUpdateRPIGPIOs();
	}
}

/* USER CODE END 4 */

void Error_Handler(void)
{
  /* USER CODE BEGIN Error_Handler_Debug */
	/* User can add his own implementation to report the HAL error return state */
	while(1)
	{
#ifdef O_LED2_Pin
		HAL_GPIO_WritePin(O_LED2_GPIO_Port,O_LED2_Pin,GPIO_PIN_SET);
#endif
		HAL_Delay(100);
#ifdef O_LED2_Pin
		HAL_GPIO_WritePin(O_LED2_GPIO_Port,O_LED2_Pin,GPIO_PIN_RESET);
#endif
		HAL_Delay(100);
	}
  /* USER CODE END Error_Handler_Debug */
}

/************************ (C) COPYRIGHT STMicroelectronics *****END OF FILE****/
